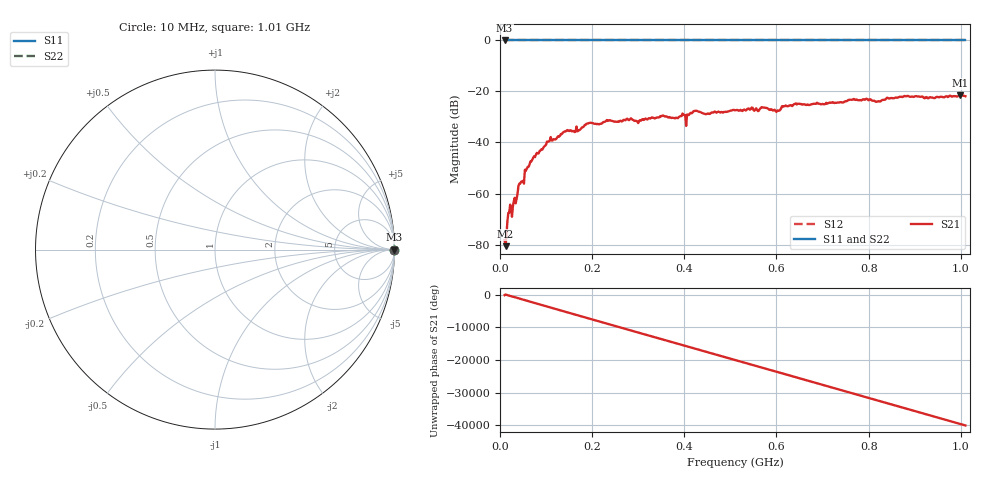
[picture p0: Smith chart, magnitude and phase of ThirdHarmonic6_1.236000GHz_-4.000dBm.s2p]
! 8/16/2025 1:05:15 PM
! C:\ANRITSUVNA\TEMP\TEMP.S2P
! CHANNEL.1
! TR.MEASUREMENT
! RAW.DATA
! RF.CORRECTION.OFF
! AVERAGING.OFF
! IF.BANDWIDTH: 5KHZ
! SWEEPTYPE:  FREQ.SWEEP(Linear)
! Reference Plane Port Info
! PORT:  PORT1  PORT2
! DISTANCE:  0  m  0  m
! TIME:  0  s  0  s
! PHASE.OFFSET:  0  deg.  0  deg.
! LOSS:  0  dB  0  dB
! REF.LOSS:  0  dB  0  dB
! REF.FREQ:  0  Hz  0  Hz
! Power Info
! POWER:  -20  dBm  -20  dBm
! EFF.POWER:  -20  dBm  -20  dBm
! SOURCE.ATTEN:  0  dB  0  dB
! TEST.ATTEN:  0  dB  0  dB
# GHZ S RI R 50.0
! FREQ.GHZ  S11RE  S11IM  S21RE  S21IM  S12RE  S12IM  S22RE  S22IM
!; PortSelection: Port_12
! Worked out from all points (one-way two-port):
!   501 points, 10 MHz to 1.01 GHz, reference 50 ohm
!   highest |S21| = -21.50 dB at 998 MHz (marker M1); lowest = -80.6 dB at 12 MHz (marker M2)
!   lowest |S11| = 0.0 dB at 10 MHz (marker M3)
!   |S11| at or under -10 dB: nowhere
!   |S22| runs from 0.0 to 0.0 dB; largest |S21 - S12| = 1.1
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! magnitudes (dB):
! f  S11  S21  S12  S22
! 10 MHz  0.0  -78.3  0.0  0.0
! 12 MHz  0.0  -80.6  0.0  0.0
! 20 MHz  0.0  -67.5  0.0  0.0
! 30 MHz  0.0  -63.0  0.0  0.0
! 44 MHz  0.0  -56.1  0.0  0.0
! 70 MHz  0.0  -46.8  0.0  0.0
! 106 MHz  0.0  -39.6  0.0  0.0
! 142 MHz  0.0  -35.7  0.0  0.0
! 178 MHz  0.0  -34.1  0.0  0.0
! 194 MHz  0.0  -32.3  0.0  0.0
! 344 MHz  0.0  -30.2  0.0  0.0
! 406 MHz  0.0  -29.0  0.0  0.0
! 424 MHz  0.0  -27.6  0.0  0.0
! 450 MHz  0.0  -28.7  0.0  0.0
! 510 MHz  0.0  -27.4  0.0  0.0
! 572 MHz  0.0  -26.3  0.0  0.0
! 602 MHz  0.0  -27.4  0.0  0.0
! 616 MHz  0.0  -25.7  0.0  0.0
! 678 MHz  0.0  -24.9  0.0  0.0
! 844 MHz  0.0  -22.7  0.0  0.0
! 998 MHz  0.0  -21.5  0.0  0.0
! 1.01 GHz  0.0  -21.9  0.0  0.0
